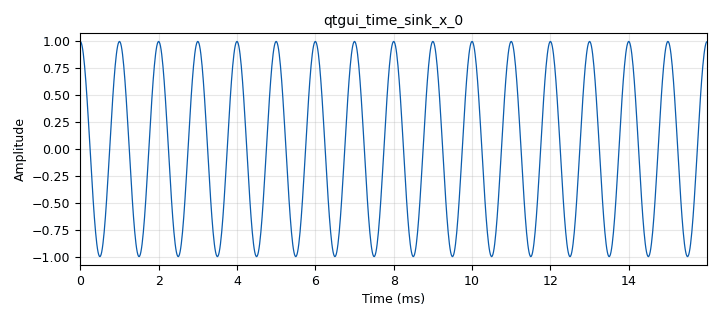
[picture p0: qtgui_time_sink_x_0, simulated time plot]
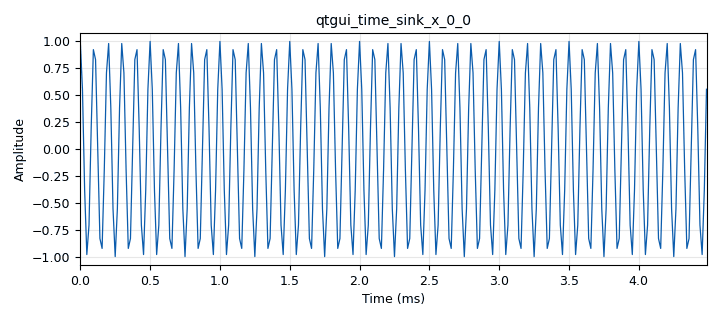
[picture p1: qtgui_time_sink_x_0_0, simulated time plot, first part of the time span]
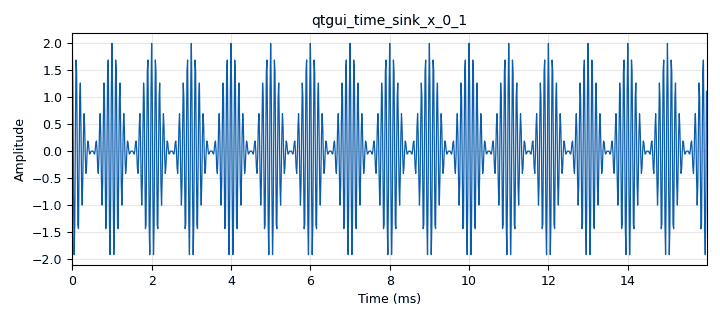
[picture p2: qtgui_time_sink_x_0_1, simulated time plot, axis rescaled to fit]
options:
  parameters:
    author: kankh
    generate_options: qt_gui
    id: FM
    output_language: python
    title: Not titled yet
  states: {}

blocks:
- name: Vm
  id: variable_qtgui_range
  parameters:
    start: '0'
    step: '0.1'
    stop: '1.5'
    value: '1'
  states: {}
- name: samp_rate
  id: variable
  parameters:
    value: '32000'
  states: {}
- name: variable_qtgui_range_1
  id: variable_qtgui_range
  parameters:
    start: '0'
    step: '0.1'
    stop: '1.5'
    value: '1'
  states: {}
- name: analog_const_source_x_0
  id: analog_const_source_x
  parameters:
    const: '1'
    type: float
  states: {}
- name: analog_const_source_x_0_0
  id: analog_const_source_x
  parameters:
    const: '1'
    type: float
  states: {}
- name: analog_sig_source_x_0
  id: analog_sig_source_x
  parameters:
    amp: '1'
    freq: '1000'
    offset: '0'
    phase: '0'
    samp_rate: '64000'
    type: float
    waveform: analog.GR_COS_WAVE
  states: {}
- name: analog_sig_source_x_0_0
  id: analog_sig_source_x
  parameters:
    amp: '1'
    freq: '10000'
    offset: '0'
    phase: '0'
    samp_rate: '64000'
    type: float
    waveform: analog.GR_COS_WAVE
  states: {}
- name: blocks_add_xx_0
  id: blocks_add_xx
  parameters:
    type: float
  states: {}
- name: blocks_multiply_xx_0
  id: blocks_multiply_xx
  parameters:
    type: float
  states: {}
- name: blocks_multiply_xx_0_0
  id: blocks_multiply_xx
  parameters:
    type: float
  states: {}
- name: qtgui_time_sink_x_0
  id: qtgui_time_sink_x
  parameters:
    size: '1024'
    srate: '64000'
    type: float
  states: {}
- name: qtgui_time_sink_x_0_0
  id: qtgui_time_sink_x
  parameters:
    size: '1024'
    srate: '64000'
    type: float
  states: {}
- name: qtgui_time_sink_x_0_1
  id: qtgui_time_sink_x
  parameters:
    size: '1024'
    srate: '64000'
    type: float
  states: {}

connections:
- [analog_const_source_x_0, '0', blocks_multiply_xx_0, '1']
- [analog_const_source_x_0_0, '0', blocks_add_xx_0, '1']
- [analog_sig_source_x_0, '0', blocks_multiply_xx_0, '0']
- [analog_sig_source_x_0, '0', qtgui_time_sink_x_0, '0']
- [analog_sig_source_x_0_0, '0', blocks_multiply_xx_0_0, '1']
- [analog_sig_source_x_0_0, '0', qtgui_time_sink_x_0_0, '0']
- [blocks_add_xx_0, '0', blocks_multiply_xx_0_0, '0']
- [blocks_multiply_xx_0, '0', blocks_add_xx_0, '0']
- [blocks_multiply_xx_0_0, '0', qtgui_time_sink_x_0_1, '0']

metadata:
  file_format: 1
  grc_version: 3.10.12.0
